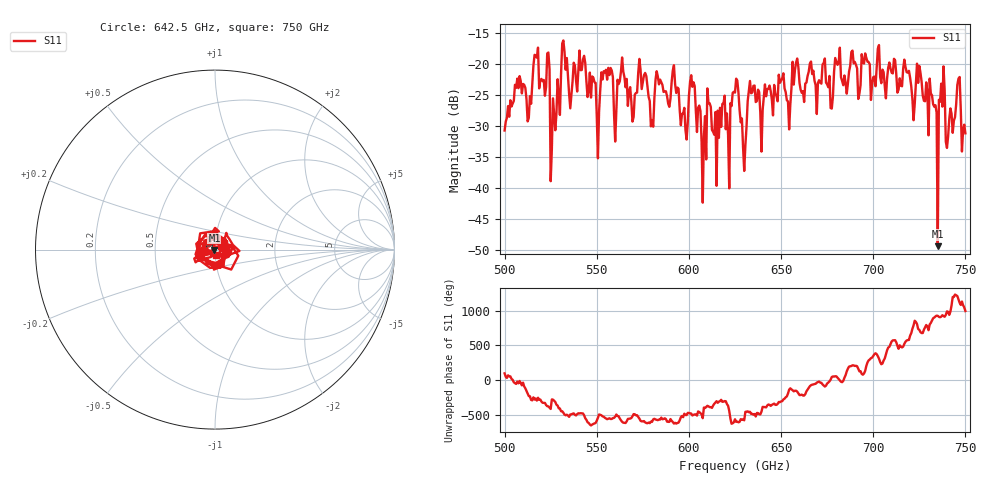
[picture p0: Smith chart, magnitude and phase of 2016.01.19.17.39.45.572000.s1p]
!Created with skrf (http://scikit-rf.org).
# GHz S RI R 50.0
!freq ReS11 ImS11
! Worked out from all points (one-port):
!   401 points, 500 GHz to 750 GHz, reference 50 ohm
!   lowest |S11| = -49.3 dB at 735 GHz (marker M1), VSWR 1.01, Z = 49.7 - j0.156 ohm
!   |S11| at or under -10 dB: start of sweep to end of sweep
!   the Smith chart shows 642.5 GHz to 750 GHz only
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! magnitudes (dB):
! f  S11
! 500 GHz  -30.7
! 506.9 GHz  -22.3
! 513.1 GHz  -28.6
! 516.9 GHz  -18.5
! 523.1 GHz  -18.2
! 526.2 GHz  -25.5
! 531.2 GHz  -16.6
! 550.6 GHz  -35.2
! 562.5 GHz  -22.7
! 580 GHz  -29.0
! 583.1 GHz  -21.9
! 593.8 GHz  -23.7
! 598.1 GHz  -30.6
! 601.9 GHz  -23.6
! 608.1 GHz  -31.6
! 611.2 GHz  -26.3
! 621.2 GHz  -31.4
! 625 GHz  -24.5
! 630 GHz  -37.2
! 633.8 GHz  -24.7
! 656.2 GHz  -19.6
! 687.5 GHz  -20.2
! 718.8 GHz  -21.3
! 735 GHz  -49.3
! 737.5 GHz  -26.8
! 740.6 GHz  -31.6
! 746.2 GHz  -22.3
! 750 GHz  -31.1
